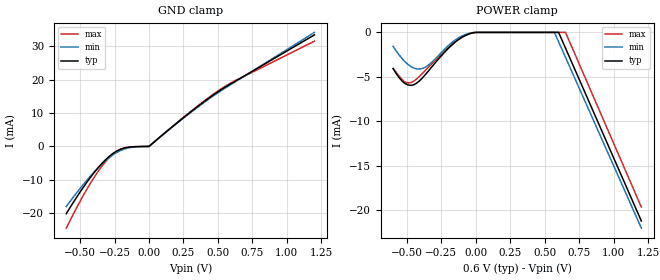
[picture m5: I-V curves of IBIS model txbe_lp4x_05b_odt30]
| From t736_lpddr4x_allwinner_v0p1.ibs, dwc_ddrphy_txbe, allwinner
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[Model] txbe_lp4x_05b_odt30
Model_type   Input
Polarity   Non-Inverting
Enable   Active-High
C_comp   915.827fF   912.932fF   917.034fF
C_comp_pullup   273.882fF   268.121fF   274.459fF
C_comp_pulldown 469.709fF   468.187fF   481.640fF
Vinh = 360.000mV
Vinl = 307.000mV
[Model Spec]
D_overshoot_ampl_h 0.1 NA   NA
D_overshoot_ampl_l 0.1 NA   NA
D_overshoot_area_l 300.000m NA   NA
D_overshoot_area_h 300.000m NA   NA
[Receiver Thresholds]
Vth = 163.000mV
Vth_min = 143.000mV
Vth_max = 150.000mV
Vinh_ac = 60.000mV
Vinh_dc = 60.000mV
Vinl_ac = -60.000mV
Vinl_dc = -60.000mV
Tslew_ac = 5.000ns
Threshold_sensitivity = 0.5
Reference_supply Power_clamp_ref
[Temperature Range]   25.000   125.000   -40.000
[Voltage Range]   600.000mV   570.000mV   650.000mV
[GND Clamp Reference]   0.00V   0.00V   0.00V
[C Comp Corner]
| variable   typ   min   max
C_comp 912.932fF   917.034fF   915.827fF
C_comp_pullup 273.882fF   274.459fF   268.121fF
C_comp_pulldown 468.187fF   481.640fF   469.709fF
[POWER Clamp Reference]   600.000mV   570.000mV   650.000mV
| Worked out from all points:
|   GND clamp passes 1 mA (typ) near -0.21 V on its own axis
|   POWER clamp passes 1 mA (typ) near -0.14 V on its own axis
[GND Clamp]
-600mV    -20.16mA   -18.03mA   -24.48mA
-480mV    -12.47mA   -11.59mA   -14.97mA
-390mV    -7.439mA   -7.303mA   -8.772mA
-320mV    -4.191mA   -4.445mA   -4.81mA
-240mV    -1.535mA   -1.956mA   -1.625mA
-190mV    -609.6uA   -951.2uA   -570.3uA
-150mV    -250.8uA   -461.7uA   -203.8uA
0V        0A         0A         0A
310mV     10.58mA    10.4mA     10.72mA
530mV     17.18mA    16.9mA     17.44mA
620mV     19.39mA    19.21mA    19.61mA
1.2V      33.43mA    34.17mA    31.53mA
[Power Clamp]
-600mV    -4.06mA    -1.57mA    -4.06mA
-540mV    -5.388mA   -2.852mA   -5.224mA
-500mV    -5.86mA    -3.5mA     -5.67mA
-450mV    -5.88mA    -4.01mA    -5.48mA
-410mV    -5.462mA   -4.109mA   -4.956mA
-340mV    -4.268mA   -3.632mA   -3.854mA
-190mV    -1.648mA   -1.362mA   -1.584mA
-60mV     -232uA     -158uA     -246uA
570mV     -1.221uA   -11.33uA   -265nA
600mV     -1.294uA   -1.058mA   -281.3nA
650mV     -1.767mA   -2.802mA   -308.5nA
1.2V      -21.18mA   -21.99mA   -19.63mA
